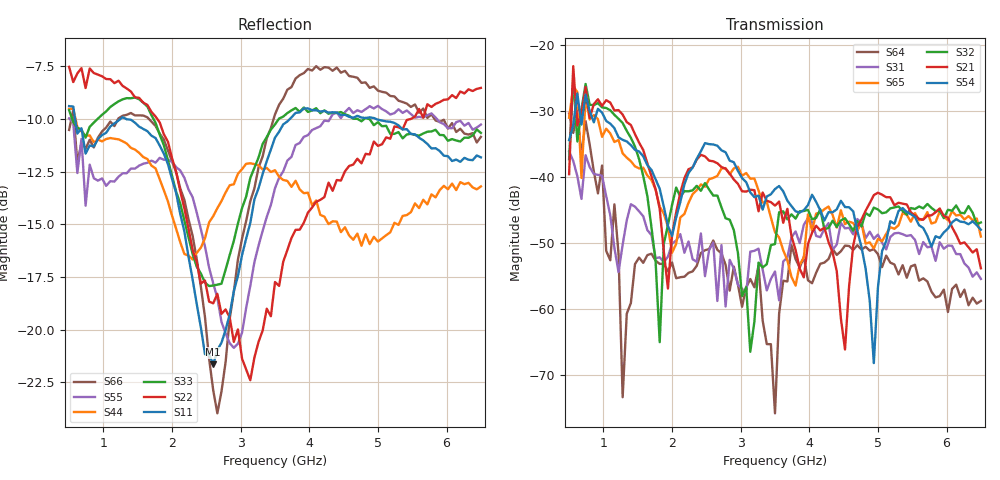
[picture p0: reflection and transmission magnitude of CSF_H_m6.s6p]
!Keysight Technologies,M9804A,MY58100912,A.14.10.03
!Date: Thursday, April 27, 2023 10:28:33
!Correction: S11(C  6-Port  )
!S12(C  6-Port  )
!S13(C  6-Port  )
!S14(C  6-Port  )
!S15(C  6-Port  )
!S16(C  6-Port  )
!S21(C  6-Port  )
!S22(C  6-Port  )
!S23(C  6-Port  )
!S24(C  6-Port  )
!S25(C  6-Port  )
!S26(C  6-Port  )
!S31(C  6-Port  )
!S32(C  6-Port  )
!S33(C  6-Port  )
!S34(C  6-Port  )
!S35(C  6-Port  )
!S36(C  6-Port  )
!S41(C  6-Port  )
!S42(C  6-Port  )
!S43(C  6-Port  )
!S44(C  6-Port  )
!S45(C  6-Port  )
!S46(C  6-Port  )
!S51(C  6-Port  )
!S52(C  6-Port  )
!S53(C  6-Port  )
!S54(C  6-Port  )
!S55(C  6-Port  )
!S56(C  6-Port  )
!S61(C  6-Port  )
!S62(C  6-Port  )
!S63(C  6-Port  )
!S64(C  6-Port  )
!S65(C  6-Port  )
!S66(C  6-Port  )
!S6P File: Measurement: :
# Hz S  RI  R 50
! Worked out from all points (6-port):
!   101 points, 500 MHz to 6.5 GHz, reference 50 ohm
!   strongest paths, dB at 500 MHz, 2 GHz, 3.5 GHz, 5 GHz, 6.5 GHz:
!     S54: -34.4, -49.0, -41.8, -56.8, -48.0
!     S21: -39.6, -48.8, -44.4, -42.4, -53.9
!     S32: -37.3, -44.2, -50.2, -44.9, -46.9
!     S65: -31.0, -51.5, -48.4, -49.4, -49.1
!     S31: -36.2, -50.1, -54.4, -48.8, -55.5
!     S64: -30.4, -53.0, -75.9, -51.7, -58.8
!   lowest |S11| = -21.6 dB at 2.6 GHz (marker M1), VSWR 1.18, Z = 42.6 + j2.04 ohm
!   |S11| at or under -10 dB: 587.7 MHz to 1.247 GHz (658.9 MHz wide, 71.8 % of centre); 1.334 GHz to 3.716 GHz (2.382 GHz wide, 94.3 % of centre); 4.977 GHz to end of sweep
